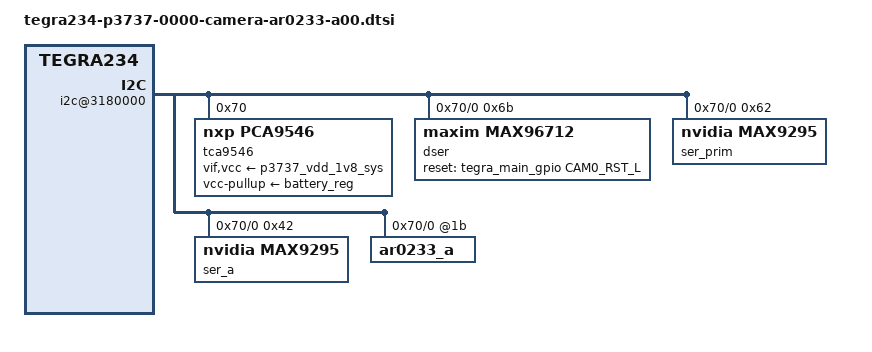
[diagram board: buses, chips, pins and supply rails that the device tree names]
/*
 * Copyright (c) 2018-2021, NVIDIA CORPORATION.  All rights reserved.
 *
 * This program is free software; you can redistribute it and/or modify it
 * under the terms and conditions of the GNU General Public License,
 * version 2, as published by the Free Software Foundation.
 *
 * This program is distributed in the hope it will be useful, but WITHOUT
 * ANY WARRANTY; without even the implied warranty of MERCHANTABILITY or
 * FITNESS FOR A PARTICULAR PURPOSE.  See the GNU General Public License for
 * more details.
 *
 * You should have received a copy of the GNU General Public License
 * along with this program.  If not, see <http://www.gnu.org/licenses/>.
 */
#include <t234-common-modules/tegra234-camera-ar0233-a00.dtsi>
#include "dt-bindings/clock/tegra234-clock.h"

#define CAM0_RST_L	TEGRA234_MAIN_GPIO(H, 3)
#define CAM0_PWDN	TEGRA234_MAIN_GPIO(H, 6)

#define CAMERA_I2C_MUX_BUS(x) (0x1E + x)

/* camera control gpio definitions */

/ {
	i2c@3180000 {
		tca9546@70 {
			compatible = "nxp,pca9546";
			reg = <0x70>;
			#address-cells = <1>;
			#size-cells = <0>;
			skip_mux_detect = "yes";
			vif-supply = <&p3737_vdd_1v8_sys>;
			vcc-supply = <&p3737_vdd_1v8_sys>;
			vcc-pullup-supply = <&battery_reg>;
			force_bus_start = <CAMERA_I2C_MUX_BUS(0)>;

			i2c@0 {
				reg = <0>;
				i2c-mux,deselect-on-exit;
				#address-cells = <1>;
				#size-cells = <0>;
				dser: max96712@6b {
					compatible = "maxim,max96712";
					reg = <0x6b>;
					csi-mode = "2x4";
					/* GMSL2:  gmsl2-6gbps,gmsl2-3gbps 
					 * GMSL1:  gmsl1
					 * Null :  unused
					 */
					gmsl-mode = "gmsl2-6gbps","unused","unused","unused";
					/* Deser send mipi data to soc's phymode
					 * DPHY or CPHY
					 */
					phy-mode = "DPHY";
					i2cport = "0";
					/*
					 * Deser :CSI2 controller number
					 */
					txport = "1";
					reset-gpios = <&tegra_main_gpio CAM0_RST_L GPIO_ACTIVE_HIGH>;
				};
				ser_prim: max9295_prim@62 {
					compatible = "nvidia,max9295";
					reg = <0x62>;
					is-prim-ser;
				};
				ser_a: max9295_a@42 {
					compatible = "nvidia,max9295";
					reg = <0x42>;	//0x42
					nvidia,gmsl-dser-device = <&dser>;
				};
#if 0
				ser_b: max9295_b@60 {
					compatible = "nvidia,max9295";
					reg = <0x60>;	//0x60
					nvidia,gmsl-dser-device = <&dser>;
				};
#endif
				ar0233_a@1b {
					def-addr = <0x10>;
					/* Define any required hw resources needed by driver */
					/* ie. clocks, io pins, power sources */
					clocks = <&bpmp_clks TEGRA234_CLK_EXTPERIPH1>,
							<&bpmp_clks TEGRA234_CLK_EXTPERIPH1>;
					clock-names = "extperiph1", "pllp_grtba";
					mclk = "extperiph1";
					nvidia,gmsl-ser-device = <&ser_a>;
					nvidia,gmsl-dser-device = <&dser>;
					nvidia,gmsl-ser-prim-device = <&ser_prim>;
				};
#if 0
				ar0233_c@1c {
					def-addr = <0x10>;
					/* Define any required hw resources needed by driver */
					/* ie. clocks, io pins, power sources */
					clocks = <&bpmp_clks TEGRA234_CLK_EXTPERIPH1>,
							<&bpmp_clks TEGRA234_CLK_EXTPERIPH1>;
					clock-names = "extperiph1", "pllp_grtba";
					mclk = "extperiph1";
					nvidia,gmsl-ser-device = <&ser_b>;
					nvidia,gmsl-dser-device = <&dser>;
					nvidia,gmsl-ser-prim-device = <&ser_prim>;
				};
#endif
			};

		};
	};
};
